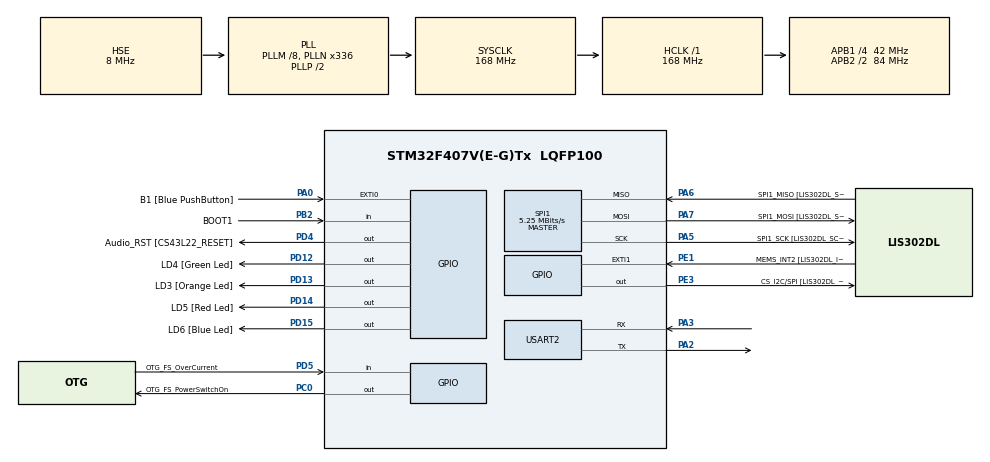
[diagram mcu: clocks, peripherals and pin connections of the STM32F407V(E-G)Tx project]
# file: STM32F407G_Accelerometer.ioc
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Mcu.Family=STM32F4
Mcu.Name=STM32F407V(E-G)Tx
Mcu.Package=LQFP100
NVIC.PriorityGroup=NVIC_PRIORITYGROUP_0
PA0-WKUP.GPIO_Label=B1 [Blue PushButton]
PA0-WKUP.GPIO_ModeDefaultEXTI=GPIO_MODE_EVT_RISING
PA0-WKUP.GPIO_PuPd=GPIO_NOPULL
PA0-WKUP.Signal=GPXTI0
PA10.GPIO_Label=OTG_FS_ID
PA10.GPIO_Mode=GPIO_MODE_AF_PP
PA10.GPIO_PuPd=GPIO_NOPULL
PA10.GPIO_Speed=GPIO_SPEED_FREQ_LOW
PA10.Signal=USB_OTG_FS_ID
PA11.GPIO_Label=OTG_FS_DM
PA11.GPIO_Mode=GPIO_MODE_AF_PP
PA11.GPIO_PuPd=GPIO_NOPULL
PA11.GPIO_Speed=GPIO_SPEED_FREQ_LOW
PA11.Signal=USB_OTG_FS_DM
PA12.GPIO_Label=OTG_FS_DP
PA12.GPIO_Mode=GPIO_MODE_AF_PP
PA12.GPIO_PuPd=GPIO_NOPULL
PA12.GPIO_Speed=GPIO_SPEED_FREQ_LOW
PA12.Signal=USB_OTG_FS_DP
PA13.GPIO_Label=SWDIO
PA13.Mode=Serial_Wire
PA13.Signal=SYS_JTMS-SWDIO
PA14.GPIO_Label=SWCLK
PA14.Mode=Serial_Wire
PA14.Signal=SYS_JTCK-SWCLK
PA2.Mode=Asynchronous
PA2.Signal=USART2_TX
PA3.Mode=Asynchronous
PA3.Signal=USART2_RX
PA4.GPIO_Label=I2S3_WS [CS43L22_LRCK]
PA4.GPIO_Mode=GPIO_MODE_AF_PP
PA4.GPIO_PuPd=GPIO_NOPULL
PA4.GPIO_Speed=GPIO_SPEED_FREQ_LOW
PA4.Signal=I2S3_WS
PA5.GPIO_Label=SPI1_SCK [LIS302DL_SCL/SPC]
PA5.GPIO_Mode=GPIO_MODE_AF_PP
PA5.GPIO_PuPd=GPIO_NOPULL
PA5.GPIO_Speed=GPIO_SPEED_FREQ_LOW
PA5.Mode=Full_Duplex_Master
PA5.Signal=SPI1_SCK
PA6.GPIO_Label=SPI1_MISO [LIS302DL_SDO]
PA6.GPIO_Mode=GPIO_MODE_AF_PP
PA6.GPIO_PuPd=GPIO_NOPULL
PA6.GPIO_Speed=GPIO_SPEED_FREQ_LOW
PA6.Mode=Full_Duplex_Master
PA6.Signal=SPI1_MISO
PA7.GPIO_Label=SPI1_MOSI [LIS302DL_SDA/SDI/SDO]
PA7.GPIO_Mode=GPIO_MODE_AF_PP
PA7.GPIO_PuPd=GPIO_NOPULL
PA7.GPIO_Speed=GPIO_SPEED_FREQ_LOW
PA7.Mode=Full_Duplex_Master
PA7.Signal=SPI1_MOSI
PA9.GPIO_Label=VBUS_FS
PA9.GPIO_Mode=GPIO_MODE_INPUT
PA9.GPIO_PuPd=GPIO_NOPULL
PA9.Signal=USB_OTG_FS_VBUS
PB10.GPIO_Label=CLK_IN [MP45DT02_CLK]
PB10.GPIO_Mode=GPIO_MODE_AF_PP
PB10.GPIO_PuPd=GPIO_NOPULL
PB10.GPIO_Speed=GPIO_SPEED_FREQ_LOW
PB10.Signal=I2S2_CK
PB2.GPIO_Label=BOOT1
PB2.GPIO_Mode=GPIO_MODE_INPUT
PB2.GPIO_PuPd=GPIO_NOPULL
PB2.Signal=GPIO_Input
PB3.GPIO_Label=SWO
PB3.Signal=SYS_JTDO-SWO
PB6.GPIO_Label=Audio_SCL [CS43L22_SCL]
PB6.GPIO_Mode=GPIO_MODE_AF_OD
PB6.GPIO_Pu=GPIO_PULLUP
PB6.GPIO_PuPd=GPIO_NOPULL
PB6.GPIO_Speed=GPIO_SPEED_FREQ_LOW
PB6.Signal=I2C1_SCL
PB9.GPIO_Label=Audio_SDA [CS43L22_SDA]
PB9.GPIO_Mode=GPIO_MODE_AF_OD
PB9.GPIO_Pu=GPIO_PULLUP
PB9.GPIO_PuPd=GPIO_NOPULL
PB9.GPIO_Speed=GPIO_SPEED_FREQ_LOW
PB9.Signal=I2C1_SDA
PC0.GPIO_Label=OTG_FS_PowerSwitchOn
PC0.GPIO_PuPd=GPIO_NOPULL
PC0.GPIO_Speed=GPIO_SPEED_FREQ_LOW
PC0.PinState=GPIO_PIN_SET
PC0.Signal=GPIO_Output
PC10.GPIO_Label=I2S3_SCK [CS43L22_SCLK]
PC10.GPIO_Mode=GPIO_MODE_AF_PP
PC10.GPIO_PuPd=GPIO_NOPULL
PC10.GPIO_Speed=GPIO_SPEED_FREQ_LOW
PC10.Signal=I2S3_CK
PC12.GPIO_Label=I2S3_SD [CS43L22_SDIN]
PC12.GPIO_Mode=GPIO_MODE_AF_PP
PC12.GPIO_PuPd=GPIO_NOPULL
PC12.GPIO_Speed=GPIO_SPEED_FREQ_LOW
PC12.Signal=I2S3_SD
PC14-OSC32_IN.GPIO_Label=PC14-OSC32_IN
PC14-OSC32_IN.Mode=LSE-External-Oscillator
PC14-OSC32_IN.Signal=RCC_OSC32_IN
PC15-OSC32_OUT.GPIO_Label=PC15-OSC32_OUT
PC15-OSC32_OUT.Mode=LSE-External-Oscillator
PC15-OSC32_OUT.Signal=RCC_OSC32_OUT
PC3.GPIO_Label=PDM_OUT [MP45DT02_DOUT]
PC3.GPIO_Mode=GPIO_MODE_AF_PP
PC3.GPIO_PuPd=GPIO_NOPULL
PC3.GPIO_Speed=GPIO_SPEED_FREQ_LOW
PC3.Signal=I2S2_SD
PC7.GPIO_Label=I2S3_MCK [CS43L22_MCLK]
PC7.GPIO_Mode=GPIO_MODE_AF_PP
PC7.GPIO_PuPd=GPIO_NOPULL
PC7.GPIO_Speed=GPIO_SPEED_FREQ_LOW
PC7.Signal=I2S3_MCK
PD12.GPIO_Label=LD4 [Green Led]
PD12.GPIO_PuPd=GPIO_NOPULL
PD12.GPIO_Speed=GPIO_SPEED_FREQ_LOW
PD12.Signal=GPIO_Output
PD13.GPIO_Label=LD3 [Orange Led]
PD13.GPIO_PuPd=GPIO_NOPULL
PD13.GPIO_Speed=GPIO_SPEED_FREQ_LOW
PD13.Signal=GPIO_Output
PD14.GPIO_Label=LD5 [Red Led]
PD14.GPIO_PuPd=GPIO_NOPULL
PD14.GPIO_Speed=GPIO_SPEED_FREQ_LOW
PD14.Signal=GPIO_Output
PD15.GPIO_Label=LD6 [Blue Led]
PD15.GPIO_PuPd=GPIO_NOPULL
PD15.GPIO_Speed=GPIO_SPEED_FREQ_LOW
PD15.Signal=GPIO_Output
PD4.GPIO_Label=Audio_RST [CS43L22_RESET]
PD4.GPIO_PuPd=GPIO_NOPULL
PD4.GPIO_Speed=GPIO_SPEED_FREQ_LOW
PD4.Signal=GPIO_Output
PD5.GPIO_Label=OTG_FS_OverCurrent
PD5.GPIO_Mode=GPIO_MODE_INPUT
PD5.GPIO_PuPd=GPIO_NOPULL
PD5.Signal=GPIO_Input
PE1.GPIO_Label=MEMS_INT2 [LIS302DL_INT2]
PE1.GPIO_ModeDefaultEXTI=GPIO_MODE_EVT_RISING
PE1.GPIO_PuPd=GPIO_NOPULL
PE1.Signal=GPXTI1
PE3.GPIO_Label=CS_I2C/SPI [LIS302DL_CS_I2C/SPI]
PE3.GPIO_PuPd=GPIO_NOPULL
PE3.GPIO_Speed=GPIO_SPEED_FREQ_LOW
PE3.Signal=GPIO_Output
PH0-OSC_IN.GPIO_Label=PH0-OSC_IN
PH0-OSC_IN.Mode=HSE-External-Oscillator
PH0-OSC_IN.Signal=RCC_OSC_IN
PH1-OSC_OUT.GPIO_Label=PH1-OSC_OUT
PH1-OSC_OUT.Mode=HSE-External-Oscillator
PH1-OSC_OUT.Signal=RCC_OSC_OUT
ProjectManager.HeapSize=0x200
ProjectManager.StackSize=0x400
ProjectManager.TargetToolchain=STM32CubeIDE
RCC.48MHZClocksFreq_Value=48000000
RCC.AHBFreq_Value=168000000
RCC.APB1CLKDivider=RCC_HCLK_DIV4
RCC.APB1Freq_Value=42000000
RCC.APB1TimFreq_Value=84000000
RCC.APB2CLKDivider=RCC_HCLK_DIV2
RCC.APB2Freq_Value=84000000
RCC.APB2TimFreq_Value=168000000
RCC.CortexFreq_Value=168000000
RCC.HCLKFreq_Value=168000000
RCC.HSE_VALUE=8000000
RCC.HSI_VALUE=16000000
RCC.PLLM=8
RCC.PLLN=336
RCC.PLLQ=7
RCC.PLLSourceVirtual=RCC_PLLSOURCE_HSE
RCC.SYSCLKFreq_VALUE=168000000
RCC.SYSCLKSource=RCC_SYSCLKSOURCE_PLLCLK
RCC.VCOOutputFreq_Value=336000000
SPI1.BaudRatePrescaler=SPI_BAUDRATEPRESCALER_16
SPI1.BaudRatePrescaler-Full_Duplex_Master=SPI_BAUDRATEPRESCALER_2
SPI1.CLKPhase=SPI_PHASE_2EDGE
SPI1.CLKPolarity=SPI_POLARITY_HIGH
SPI1.CalculateBaudRate=5.25 MBits/s
SPI1.CalculateBaudRate-Full_Duplex_Master=42.0 MBits/s
SPI1.Direction=SPI_DIRECTION_2LINES
SPI1.Mode=SPI_MODE_MASTER
SPI1.Mode-Full_Duplex_Master=SPI_MODE_MASTER
SPI1.VirtualType=VM_MASTER
USART2.VirtualMode=VM_ASYNC
board=STM32F407G-DISC1

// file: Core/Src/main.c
/* USER CODE BEGIN Header */
/**
 ******************************************************************************
 * @file           : main.c
 * @brief          : Main program body
 ******************************************************************************
 * @attention
 *
 * Copyright (c) 2024 STMicroelectronics.
 * All rights reserved.
 *
 * This software is licensed under terms that can be found in the LICENSE file
 * in the root directory of this software component.
 * If no LICENSE file comes with this software, it is provided AS-IS.
 *
 ******************************************************************************
 */
/* USER CODE END Header */
#include "main.h"

/* USER CODE BEGIN Includes */
#include "LIS3DH_Lib.h"
#include<stdio.h>
/* USER CODE END Includes */

SPI_HandleTypeDef hspi1;

UART_HandleTypeDef huart2;

void SystemClock_Config(void);
static void MX_GPIO_Init(void);
static void MX_SPI1_Init(void);
static void MX_USART2_UART_Init(void);

int main(void)
{

  /* MCU Configuration--------------------------------------------------------*/

  /* Reset of all peripherals, Initializes the Flash interface and the Systick. */
  HAL_Init();

  /* Configure the system clock */
  SystemClock_Config();

  /* Initialize all configured peripherals */
  MX_GPIO_Init();
  MX_SPI1_Init();
  MX_USART2_UART_Init();
  /* USER CODE BEGIN 2 */
	setvbuf(stdout, NULL, _IONBF, 0);

	HAL_Delay(200);

	uint8_t Read_Data = 0x00;
	int16_t buffer[3] = { 0 };

	Check_ID();

	LIS3DSH_Init();

	readRegister(&Read_Data, CTRL_REG4);
	printf("\nCTRL_REG4: 0x%X", Read_Data);

	readRegister(&Read_Data, CTRL_REG5);
	printf("\nCTRL_REG5: 0x%X", Read_Data);

  /* USER CODE END 2 */

  /* Infinite loop */
	while (1) {

    /* USER CODE BEGIN 3 */

		LIS3DSH_ReadACC(buffer);

		DropLed(buffer);
	}
  /* USER CODE END 3 */
}

void SystemClock_Config(void)
{
  RCC_OscInitTypeDef RCC_OscInitStruct = {0};
  RCC_ClkInitTypeDef RCC_ClkInitStruct = {0};

  /** Configure the main internal regulator output voltage
  */
  __HAL_RCC_PWR_CLK_ENABLE();
  __HAL_PWR_VOLTAGESCALING_CONFIG(PWR_REGULATOR_VOLTAGE_SCALE1);

  /** Initializes the RCC Oscillators according to the specified parameters
  * in the RCC_OscInitTypeDef structure.
  */
  RCC_OscInitStruct.OscillatorType = RCC_OSCILLATORTYPE_HSE;
  RCC_OscInitStruct.HSEState = RCC_HSE_ON;
  RCC_OscInitStruct.PLL.PLLState = RCC_PLL_ON;
  RCC_OscInitStruct.PLL.PLLSource = RCC_PLLSOURCE_HSE;
  RCC_OscInitStruct.PLL.PLLM = 8;
  RCC_OscInitStruct.PLL.PLLN = 336;
  RCC_OscInitStruct.PLL.PLLP = RCC_PLLP_DIV2;
  RCC_OscInitStruct.PLL.PLLQ = 7;
  if (HAL_RCC_OscConfig(&RCC_OscInitStruct) != HAL_OK)
  {
    Error_Handler();
  }

  /** Initializes the CPU, AHB and APB buses clocks
  */
  RCC_ClkInitStruct.ClockType = RCC_CLOCKTYPE_HCLK|RCC_CLOCKTYPE_SYSCLK
                              |RCC_CLOCKTYPE_PCLK1|RCC_CLOCKTYPE_PCLK2;
  RCC_ClkInitStruct.SYSCLKSource = RCC_SYSCLKSOURCE_PLLCLK;
  RCC_ClkInitStruct.AHBCLKDivider = RCC_SYSCLK_DIV1;
  RCC_ClkInitStruct.APB1CLKDivider = RCC_HCLK_DIV4;
  RCC_ClkInitStruct.APB2CLKDivider = RCC_HCLK_DIV2;

  if (HAL_RCC_ClockConfig(&RCC_ClkInitStruct, FLASH_LATENCY_5) != HAL_OK)
  {
    Error_Handler();
  }
}

static void MX_SPI1_Init(void)
{

  /* SPI1 parameter configuration*/
  hspi1.Instance = SPI1;
  hspi1.Init.Mode = SPI_MODE_MASTER;
  hspi1.Init.Direction = SPI_DIRECTION_2LINES;
  hspi1.Init.DataSize = SPI_DATASIZE_8BIT;
  hspi1.Init.CLKPolarity = SPI_POLARITY_HIGH;
  hspi1.Init.CLKPhase = SPI_PHASE_2EDGE;
  hspi1.Init.NSS = SPI_NSS_SOFT;
  hspi1.Init.BaudRatePrescaler = SPI_BAUDRATEPRESCALER_16;
  hspi1.Init.FirstBit = SPI_FIRSTBIT_MSB;
  hspi1.Init.TIMode = SPI_TIMODE_DISABLE;
  hspi1.Init.CRCCalculation = SPI_CRCCALCULATION_DISABLE;
  hspi1.Init.CRCPolynomial = 10;
  if (HAL_SPI_Init(&hspi1) != HAL_OK)
  {
    Error_Handler();
  }

}

static void MX_USART2_UART_Init(void)
{

  huart2.Instance = USART2;
  huart2.Init.BaudRate = 115200;
  huart2.Init.WordLength = UART_WORDLENGTH_8B;
  huart2.Init.StopBits = UART_STOPBITS_1;
  huart2.Init.Parity = UART_PARITY_NONE;
  huart2.Init.Mode = UART_MODE_TX_RX;
  huart2.Init.HwFlowCtl = UART_HWCONTROL_NONE;
  huart2.Init.OverSampling = UART_OVERSAMPLING_16;
  if (HAL_UART_Init(&huart2) != HAL_OK)
  {
    Error_Handler();
  }

}

static void MX_GPIO_Init(void)
{
  GPIO_InitTypeDef GPIO_InitStruct = {0};

  /* GPIO Ports Clock Enable */
  __HAL_RCC_GPIOE_CLK_ENABLE();
  __HAL_RCC_GPIOC_CLK_ENABLE();
  __HAL_RCC_GPIOH_CLK_ENABLE();
  __HAL_RCC_GPIOA_CLK_ENABLE();
  __HAL_RCC_GPIOB_CLK_ENABLE();
  __HAL_RCC_GPIOD_CLK_ENABLE();

  /*Configure GPIO pin Output Level */
  HAL_GPIO_WritePin(CS_I2C_SPI_GPIO_Port, CS_I2C_SPI_Pin, GPIO_PIN_RESET);

  /*Configure GPIO pin Output Level */
  HAL_GPIO_WritePin(OTG_FS_PowerSwitchOn_GPIO_Port, OTG_FS_PowerSwitchOn_Pin, GPIO_PIN_SET);

  /*Configure GPIO pin Output Level */
  HAL_GPIO_WritePin(GPIOD, LD4_Pin|LD3_Pin|LD5_Pin|LD6_Pin
                          |Audio_RST_Pin, GPIO_PIN_RESET);

  /*Configure GPIO pin : CS_I2C_SPI_Pin */
  GPIO_InitStruct.Pin = CS_I2C_SPI_Pin;
  GPIO_InitStruct.Mode = GPIO_MODE_OUTPUT_PP;
  GPIO_InitStruct.Pull = GPIO_NOPULL;
  GPIO_InitStruct.Speed = GPIO_SPEED_FREQ_LOW;
  HAL_GPIO_Init(CS_I2C_SPI_GPIO_Port, &GPIO_InitStruct);

  /*Configure GPIO pin : OTG_FS_PowerSwitchOn_Pin */
  GPIO_InitStruct.Pin = OTG_FS_PowerSwitchOn_Pin;
  GPIO_InitStruct.Mode = GPIO_MODE_OUTPUT_PP;
  GPIO_InitStruct.Pull = GPIO_NOPULL;
  GPIO_InitStruct.Speed = GPIO_SPEED_FREQ_LOW;
  HAL_GPIO_Init(OTG_FS_PowerSwitchOn_GPIO_Port, &GPIO_InitStruct);

  /*Configure GPIO pin : PDM_OUT_Pin */
  GPIO_InitStruct.Pin = PDM_OUT_Pin;
  GPIO_InitStruct.Mode = GPIO_MODE_AF_PP;
  GPIO_InitStruct.Pull = GPIO_NOPULL;
  GPIO_InitStruct.Speed = GPIO_SPEED_FREQ_LOW;
  GPIO_InitStruct.Alternate = GPIO_AF5_SPI2;
  HAL_GPIO_Init(PDM_OUT_GPIO_Port, &GPIO_InitStruct);

  /*Configure GPIO pin : B1_Pin */
  GPIO_InitStruct.Pin = B1_Pin;
  GPIO_InitStruct.Mode = GPIO_MODE_EVT_RISING;
  GPIO_InitStruct.Pull = GPIO_NOPULL;
  HAL_GPIO_Init(B1_GPIO_Port, &GPIO_InitStruct);

  /*Configure GPIO pin : I2S3_WS_Pin */
  GPIO_InitStruct.Pin = I2S3_WS_Pin;
  GPIO_InitStruct.Mode = GPIO_MODE_AF_PP;
  GPIO_InitStruct.Pull = GPIO_NOPULL;
  GPIO_InitStruct.Speed = GPIO_SPEED_FREQ_LOW;
  GPIO_InitStruct.Alternate = GPIO_AF6_SPI3;
  HAL_GPIO_Init(I2S3_WS_GPIO_Port, &GPIO_InitStruct);

  /*Configure GPIO pin : BOOT1_Pin */
  GPIO_InitStruct.Pin = BOOT1_Pin;
  GPIO_InitStruct.Mode = GPIO_MODE_INPUT;
  GPIO_InitStruct.Pull = GPIO_NOPULL;
  HAL_GPIO_Init(BOOT1_GPIO_Port, &GPIO_InitStruct);

  /*Configure GPIO pin : CLK_IN_Pin */
  GPIO_InitStruct.Pin = CLK_IN_Pin;
  GPIO_InitStruct.Mode = GPIO_MODE_AF_PP;
  GPIO_InitStruct.Pull = GPIO_NOPULL;
  GPIO_InitStruct.Speed = GPIO_SPEED_FREQ_LOW;
  GPIO_InitStruct.Alternate = GPIO_AF5_SPI2;
  HAL_GPIO_Init(CLK_IN_GPIO_Port, &GPIO_InitStruct);

  /*Configure GPIO pins : LD4_Pin LD3_Pin LD5_Pin LD6_Pin
                           Audio_RST_Pin */
  GPIO_InitStruct.Pin = LD4_Pin|LD3_Pin|LD5_Pin|LD6_Pin
                          |Audio_RST_Pin;
  GPIO_InitStruct.Mode = GPIO_MODE_OUTPUT_PP;
  GPIO_InitStruct.Pull = GPIO_NOPULL;
  GPIO_InitStruct.Speed = GPIO_SPEED_FREQ_LOW;
  HAL_GPIO_Init(GPIOD, &GPIO_InitStruct);

  /*Configure GPIO pins : I2S3_MCK_Pin I2S3_SCK_Pin I2S3_SD_Pin */
  GPIO_InitStruct.Pin = I2S3_MCK_Pin|I2S3_SCK_Pin|I2S3_SD_Pin;
  GPIO_InitStruct.Mode = GPIO_MODE_AF_PP;
  GPIO_InitStruct.Pull = GPIO_NOPULL;
  GPIO_InitStruct.Speed = GPIO_SPEED_FREQ_LOW;
  GPIO_InitStruct.Alternate = GPIO_AF6_SPI3;
  HAL_GPIO_Init(GPIOC, &GPIO_InitStruct);

  /*Configure GPIO pin : VBUS_FS_Pin */
  GPIO_InitStruct.Pin = VBUS_FS_Pin;
  GPIO_InitStruct.Mode = GPIO_MODE_INPUT;
  GPIO_InitStruct.Pull = GPIO_NOPULL;
  HAL_GPIO_Init(VBUS_FS_GPIO_Port, &GPIO_InitStruct);

  /*Configure GPIO pins : OTG_FS_ID_Pin OTG_FS_DM_Pin OTG_FS_DP_Pin */
  GPIO_InitStruct.Pin = OTG_FS_ID_Pin|OTG_FS_DM_Pin|OTG_FS_DP_Pin;
  GPIO_InitStruct.Mode = GPIO_MODE_AF_PP;
  GPIO_InitStruct.Pull = GPIO_NOPULL;
  GPIO_InitStruct.Speed = GPIO_SPEED_FREQ_LOW;
  GPIO_InitStruct.Alternate = GPIO_AF10_OTG_FS;
  HAL_GPIO_Init(GPIOA, &GPIO_InitStruct);

  /*Configure GPIO pin : OTG_FS_OverCurrent_Pin */
  GPIO_InitStruct.Pin = OTG_FS_OverCurrent_Pin;
  GPIO_InitStruct.Mode = GPIO_MODE_INPUT;
  GPIO_InitStruct.Pull = GPIO_NOPULL;
  HAL_GPIO_Init(OTG_FS_OverCurrent_GPIO_Port, &GPIO_InitStruct);

  /*Configure GPIO pins : Audio_SCL_Pin Audio_SDA_Pin */
  GPIO_InitStruct.Pin = Audio_SCL_Pin|Audio_SDA_Pin;
  GPIO_InitStruct.Mode = GPIO_MODE_AF_OD;
  GPIO_InitStruct.Pull = GPIO_PULLUP;
  GPIO_InitStruct.Speed = GPIO_SPEED_FREQ_LOW;
  GPIO_InitStruct.Alternate = GPIO_AF4_I2C1;
  HAL_GPIO_Init(GPIOB, &GPIO_InitStruct);

  /*Configure GPIO pin : MEMS_INT2_Pin */
  GPIO_InitStruct.Pin = MEMS_INT2_Pin;
  GPIO_InitStruct.Mode = GPIO_MODE_EVT_RISING;
  GPIO_InitStruct.Pull = GPIO_NOPULL;
  HAL_GPIO_Init(MEMS_INT2_GPIO_Port, &GPIO_InitStruct);

}

/* USER CODE BEGIN 4 */
int _write(int file, char *ptr, int len) {
	// You can ignore 'file' as we're just using UART
	(void) file;

	// Transmit the entire buffer over UART
	HAL_UART_Transmit(&huart2, (uint8_t*) ptr, len, HAL_MAX_DELAY);

	// Return the number of transmitted bytes
	return len;
}
/* USER CODE END 4 */

void Error_Handler(void)
{
  /* USER CODE BEGIN Error_Handler_Debug */
	/* User can add his own implementation to report the HAL error return state */
	printf("\nError Handler Called!:((");
	printf("\nPlease reset the device!");
	__disable_irq();
	while (1) {
	}
  /* USER CODE END Error_Handler_Debug */
}
